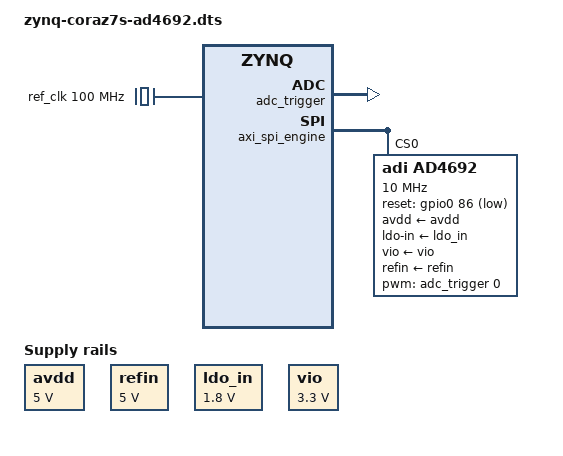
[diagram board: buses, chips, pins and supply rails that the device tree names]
// SPDX-License-Identifier: GPL-2.0
/*
 * Analog Devices AD4692 — SPI Engine Offload, Cora Z7S
 * https://www.analog.com/en/products/ad4692.html
 *
 * hdl_project: <ad469x_evb/coraz7s>
 * Link: https://github.com/analogdevicesinc/hdl/tree/main/projects/ad469x_evb
 *
 * AD4692_ARDZ Eval Board Pinout on Cora Z7S Arduino Headers:
 *   CK_IO13: SPI SCLK
 *   CK_IO12: SPI SDO (MISO)
 *   CK_IO11: SPI SDI (MOSI)
 *   CK_IO10: SPI CS  (tied to CNV in Manual Mode)
 *   CK_IO09: GP0     (DATA_READY → SPI Engine trigger, CNV Burst Mode only)
 *   CK_IO06: CNV     (AXI PWM gen output, CNV Burst Mode only)
 *   CK_IO04: RESETn  (PS GPIO)
 *
 * -----------------------------------------------------------------------
 * OPERATING MODES
 *
 * This file defaults to CNV Burst Mode with SPI Engine Offload:
 *   The AXI PWM gen drives CNV at the configured rate.  GP0 (DATA_READY)
 *   triggers the SPI Engine offload; the DMA streams all active channel
 *   results directly to userspace at full rate.
 *
 * To switch to Manual Mode with SPI Engine Offload:
 *   CNV is tied to SPI CS.  The SPI Engine is driven by a periodic PWM
 *   trigger (pwm-trigger node).  Each CS-low period simultaneously
 *   triggers a conversion and returns the previous result (pipelined).
 *   Changes needed:
 *     1. Uncomment the trigger_pwm node in the root.
 *     2. Change trigger-sources in axi_spi_engine from <&ad4692 0>
 *        to <&trigger_pwm>.
 *     3. Remove pwms, pwm-names, and #trigger-source-cells from the
 *        ADC node — the driver auto-detects Manual Mode from their absence.
 * -----------------------------------------------------------------------
 *
 * Copyright (C) 2026 Analog Devices Inc.
 */
/dts-v1/;

#include <dt-bindings/interrupt-controller/irq.h>
#include <dt-bindings/gpio/gpio.h>

#include "zynq-coraz7s.dtsi"

/ {
	avdd: regulator-avdd {
		compatible = "regulator-fixed";
		regulator-name = "AD4692 AVDD";
		regulator-min-microvolt = <5000000>;
		regulator-max-microvolt = <5000000>;
		regulator-always-on;
	};

	/*
	 * Use refin-supply when the reference is connected to REFIN and the
	 * internal buffer is desired.  Use ref-supply instead when the
	 * reference drives REF directly (buffer bypassed).
	 */
	refin: regulator-refin {
		compatible = "regulator-fixed";
		regulator-name = "AD4692 REFIN";
		regulator-min-microvolt = <5000000>;
		regulator-max-microvolt = <5000000>;
		regulator-always-on;
	};

	ldo_in: regulator-ldo_in {
		compatible = "regulator-fixed";
		regulator-name = "AD4692 LDO-IN";
		regulator-min-microvolt = <1800000>;
		regulator-max-microvolt = <1800000>;
		regulator-always-on;
	};

	vio: regulator-vio {
		compatible = "regulator-fixed";
		regulator-name = "AD4692 VIO";
		regulator-min-microvolt = <3300000>;
		regulator-max-microvolt = <3300000>;
		regulator-always-on;
	};

	ref_clk: ref-clk {
		compatible = "fixed-clock";
		#clock-cells = <0>;
		clock-frequency = <100000000>;
		clock-output-names = "ref_clk";
	};

	/*
	 * MANUAL MODE ONLY: uncomment this node, update trigger-sources in
	 * axi_spi_engine to <&trigger_pwm>, and remove pwms, pwm-names, and
	 * #trigger-source-cells from the ADC node.
	 * Period = 10 µs → 100 kHz default capture rate; adjust as needed.
	 */
	// trigger_pwm: adc-pwm-trigger {
	// 	compatible = "pwm-trigger";
	// 	#trigger-source-cells = <0>;
	// 	pwms = <&adc_trigger 0 10000 0>;
	// };
};

&fpga_axi {
	rx_dma: dma-controller@44a30000 {
		compatible = "adi,axi-dmac-1.00.a";
		reg = <0x44a30000 0x1000>;
		#dma-cells = <1>;
		interrupt-parent = <&intc>;
		interrupts = <0 57 IRQ_TYPE_LEVEL_HIGH>;
		clocks = <&clkc 15>;
	};

	adc_trigger: pwm@44b00000 {
		compatible = "adi,axi-pwmgen-2.00.a";
		reg = <0x44b00000 0x1000>;
		#pwm-cells = <3>;
		clocks = <&clkc 15>, <&spi_clk>;
		clock-names = "axi", "ext";
	};

	spi_clk: clock-controller@44a70000 {
		compatible = "adi,axi-clkgen-2.00.a";
		reg = <0x44a70000 0x10000>;
		#clock-cells = <0>;
		clocks = <&clkc 15>, <&clkc 15>;
		clock-names = "clkin1", "s_axi_aclk";
		clock-output-names = "spi_clk";
	};

	axi_spi_engine: spi@44a00000 {
		compatible = "adi,axi-spi-engine-1.00.a";
		reg = <0x44a00000 0x1000>;
		interrupt-parent = <&intc>;
		interrupts = <0 56 IRQ_TYPE_LEVEL_HIGH>;
		clocks = <&clkc 15>, <&spi_clk>;
		clock-names = "s_axi_aclk", "spi_clk";

		dmas = <&rx_dma 0>;
		dma-names = "offload0-rx";

		/*
		 * CNV Burst Mode: ADC GP0 (DATA_READY) drives the trigger.
		 * Manual Mode: change to <&trigger_pwm>.
		 */
		trigger-sources = <&ad4692 0>;

		#address-cells = <1>;
		#size-cells = <0>;

		ad4692: adc@0 {
			compatible = "adi,ad4692";
			reg = <0>;

			spi-cpol;
			spi-cpha;
			spi-max-frequency = <10000000>;

			avdd-supply = <&avdd>;
			ldo-in-supply = <&ldo_in>;
			vio-supply = <&vio>;
			refin-supply = <&refin>;

			reset-gpios = <&gpio0 86 GPIO_ACTIVE_LOW>;

			clocks = <&ref_clk>;
			clock-names = "ref_clk";

			/*
			 * CNV Burst Mode: PWM drives the CNV pin.
			 * Manual Mode: remove these two properties — the driver
			 * auto-detects Manual Mode from their absence.
			 */
			pwms = <&adc_trigger 0 10000 0>;
			pwm-names = "cnv";

			/*
			 * CNV Burst Mode: ADC exposes GP0 as a trigger source
			 * consumed by axi_spi_engine above.
			 * Manual Mode: remove this property.
			 */
			#trigger-source-cells = <1>;
		};
	};
};
